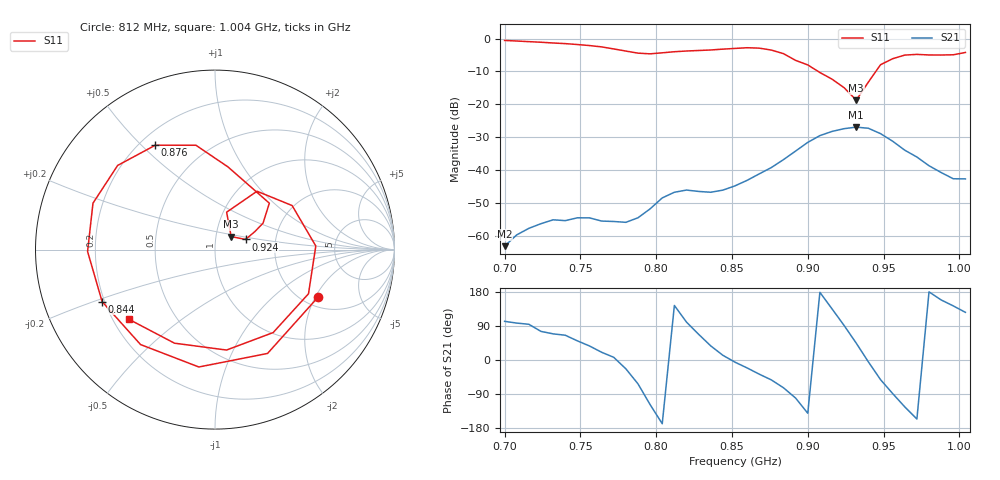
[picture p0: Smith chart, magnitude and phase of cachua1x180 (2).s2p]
# Hz S RI R 50
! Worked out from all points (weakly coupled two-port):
!   39 points, 700 MHz to 1.004 GHz, reference 50 ohm
!   highest |S21| = -26.94 dB at 932 MHz (marker M1); lowest = -63.2 dB at 700 MHz (marker M2)
!   lowest |S11| = -18.7 dB at 932 MHz (marker M3), VSWR 1.26, Z = 59.2 + j8.7 ohm
!   |S11| at or under -10 dB: 906.9 MHz to 944.9 MHz (37.94 MHz wide, 4.1 % of centre)
!   S12 and S22 are empty: the file has one direction only
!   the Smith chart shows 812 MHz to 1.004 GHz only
!   S11 on the Smith chart (normalised r, x): 812 MHz: 2.39, -2.11; 844 MHz: 0.19, -0.21; 876 MHz: 0.26, +0.55; 924 MHz: 1.40, +0.16; 1.004 GHz: 0.27, -0.33
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7e8  0.7592 0.5519  -0.000145 0.000679  0 0  0 0
7.24e8  0.8457 -0.2493  0.000383 0.00148  0 0  0 0
7.4e8  0.4599 -0.7034  0.000707 0.00154  0 0  0 0
7.56e8  -0.1902 -0.7611  0.00149 0.00113  0 0  0 0
7.72e8  -0.6659 -0.2061  0.00164 0.000203  0 0  0 0
7.8e8  -0.6086 0.2202  0.00147 -0.000633  0 0  0 0
7.88e8  -0.2664 0.5393  0.000854 -0.00167  0 0  0 0
7.96e8  0.2259 0.5422  -0.0012 -0.00227  0 0  0 0
8.04e8  0.5754 0.1991  -0.00369 -0.000772  0 0  0 0
8.12e8  0.5741 -0.265  -0.00371 0.0027  0 0  0 0
8.28e8  -0.09 -0.6541  0.00178 0.00437  0 0  0 0
8.44e8  -0.6289 -0.29  0.00483 0.00106  0 0  0 0
8.52e8  -0.7099 -0.0106  0.00572 -0.000574  0 0  0 0
8.76e8  -0.3326 0.5817  0.00663 -0.00868  0 0  0 0
9e8  0.3027 0.2587  -0.0204 -0.0167  0 0  0 0
9.08e8  0.2675 0.147  -0.0334 0.000832  0 0  0 0
9.24e8  0.17 0.0566  -0.000728 0.0427  0 0  0 0
9.32e8  0.0901 0.0725  0.0321 0.0315  0 0  0 0
9.56e8  0.4296 0.2455  0.000719 -0.0275  0 0  0 0
9.72e8  0.521 -0.246  -0.0144 -0.00649  0 0  0 0
9.88e8  0.0641 -0.5596  -0.00853 0.00336  0 0  0 0
1.004e9  -0.4776 -0.3893  -0.00429 0.00595  0 0  0 0
